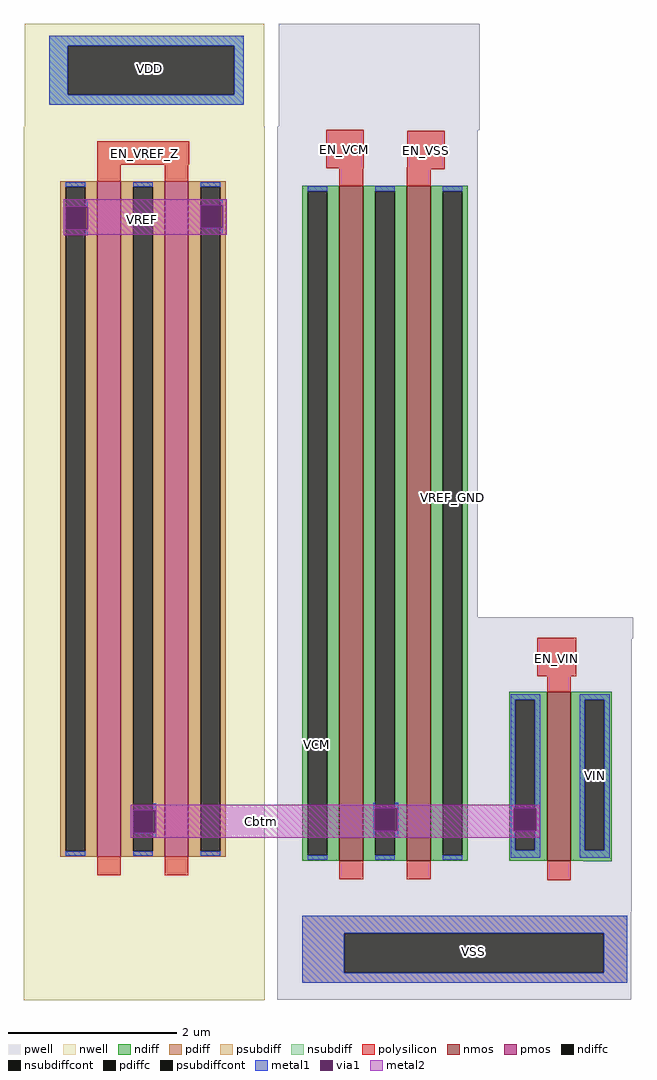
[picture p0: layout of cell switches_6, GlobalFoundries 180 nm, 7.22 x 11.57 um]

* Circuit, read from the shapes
.subckt switches_6 VCM VREF_GND VIN VREF EN_VCM EN_VREF_Z Cbtm VDD EN_VSS EN_VIN VSS
XM1 Cbtm EN_VCM VCM VSS nfet_03v3 w=8u l=0.28u
XM2 VREF_GND EN_VSS Cbtm VSS nfet_03v3 w=8u l=0.28u
XM3 VIN EN_VIN Cbtm VSS nfet_03v3 w=2u l=0.28u
XM4 Cbtm EN_VREF_Z VREF VDD pfet_03v3 w=8u l=0.28u m=2
.ends

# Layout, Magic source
magic
tech gf180mcuD
magscale 1 10
<< nwell >>
rect 2686 1955 3254 2198
rect 2684 -115 3255 1955
<< pwell >>
rect 3288 1954 3765 2198
rect 3284 1946 3765 1954
rect 3284 792 3760 1946
rect 3284 741 4128 792
rect 3284 95 4125 741
rect 3285 -114 4124 95
<< nmos >>
rect 3432 215 3488 1815
rect 3592 215 3648 1815
rect 3924 215 3980 615
<< pmos >>
rect 2858 225 2914 1825
rect 3018 225 3074 1825
<< ndiff >>
rect 3344 1802 3432 1815
rect 3344 228 3357 1802
rect 3403 228 3432 1802
rect 3344 215 3432 228
rect 3488 1802 3592 1815
rect 3488 228 3517 1802
rect 3563 228 3592 1802
rect 3488 215 3592 228
rect 3648 1802 3736 1815
rect 3648 228 3677 1802
rect 3723 228 3736 1802
rect 3648 215 3736 228
rect 3834 596 3924 615
rect 3834 240 3849 596
rect 3895 240 3924 596
rect 3834 215 3924 240
rect 3980 596 4077 615
rect 3980 240 4013 596
rect 4059 240 4077 596
rect 3980 215 4077 240
rect 4010 214 4077 215
<< pdiff >>
rect 2770 1812 2858 1825
rect 2770 238 2783 1812
rect 2829 238 2858 1812
rect 2770 225 2858 238
rect 2914 1812 3018 1825
rect 2914 238 2943 1812
rect 2989 238 3018 1812
rect 2914 225 3018 238
rect 3074 1812 3162 1825
rect 3074 238 3103 1812
rect 3149 238 3162 1812
rect 3074 225 3162 238
<< ndiffc >>
rect 3357 228 3403 1802
rect 3517 228 3563 1802
rect 3677 228 3723 1802
rect 3849 240 3895 596
rect 4013 240 4059 596
<< pdiffc >>
rect 2783 238 2829 1812
rect 2943 238 2989 1812
rect 3103 238 3149 1812
<< psubdiff >>
rect 3344 43 4114 85
rect 3344 -51 3443 43
rect 4058 -51 4114 43
rect 3344 -74 4114 -51
<< nsubdiff >>
rect 2744 2147 3205 2170
rect 2744 2030 2788 2147
rect 3183 2030 3205 2147
rect 2744 2007 3205 2030
<< psubdiffcont >>
rect 3443 -51 4058 43
<< nsubdiffcont >>
rect 2788 2030 3183 2147
<< polysilicon >>
rect 2858 1864 3076 1920
rect 2858 1825 2914 1864
rect 3018 1825 3074 1864
rect 3401 1856 3490 1947
rect 3593 1859 3682 1945
rect 3432 1815 3488 1856
rect 3592 1854 3682 1859
rect 3592 1815 3648 1854
rect 2858 181 2914 225
rect 3018 181 3074 225
rect 3901 652 3993 743
rect 3924 615 3980 652
rect 3432 171 3488 215
rect 3592 171 3648 215
rect 3924 169 3980 215
<< metal1 >>
rect 2744 2147 3205 2170
rect 2744 2030 2788 2147
rect 3183 2030 3205 2147
rect 2744 2007 3205 2030
rect 2783 1812 2829 1823
rect 2943 1812 2989 1823
rect 2829 1765 2835 1780
rect 2829 1697 2835 1711
rect 2783 227 2829 238
rect 3103 1812 3149 1823
rect 3357 1802 3403 1813
rect 3149 1769 3155 1782
rect 2989 335 2998 350
rect 2996 281 2998 335
rect 2989 269 2998 281
rect 2943 227 2989 238
rect 3149 1699 3155 1715
rect 3103 227 3149 238
rect 3517 1802 3563 1813
rect 3512 340 3517 352
rect 3677 1802 3723 1813
rect 3563 340 3571 352
rect 3512 286 3516 340
rect 3569 286 3571 340
rect 3512 271 3517 286
rect 3357 217 3403 228
rect 3563 271 3571 286
rect 3517 217 3563 228
rect 3677 217 3723 228
rect 3838 596 3908 609
rect 3838 340 3849 596
rect 3895 340 3908 596
rect 3838 286 3845 340
rect 3898 286 3908 340
rect 3838 240 3849 286
rect 3895 240 3908 286
rect 3838 222 3908 240
rect 4002 596 4072 609
rect 4002 240 4013 596
rect 4059 240 4072 596
rect 4002 222 4072 240
rect 3344 43 4114 85
rect 3344 -51 3443 43
rect 4058 -51 4114 43
rect 3344 -74 4114 -51
<< via1 >>
rect 2783 1711 2829 1765
rect 2829 1711 2835 1765
rect 3103 1715 3149 1769
rect 3149 1715 3155 1769
rect 2943 281 2989 335
rect 2989 281 2996 335
rect 3516 286 3517 340
rect 3517 286 3563 340
rect 3563 286 3569 340
rect 3845 286 3849 340
rect 3849 286 3895 340
rect 3895 286 3898 340
<< metal2 >>
rect 2779 1769 3165 1783
rect 2779 1765 3103 1769
rect 2779 1711 2783 1765
rect 2835 1715 3103 1765
rect 3155 1715 3165 1769
rect 2835 1711 3165 1715
rect 2779 1698 3165 1711
rect 2779 1697 2835 1698
rect 2937 340 3907 348
rect 2937 335 3516 340
rect 2937 281 2943 335
rect 2996 286 3516 335
rect 3569 286 3845 340
rect 3898 286 3907 340
rect 2996 281 3907 286
rect 2937 269 3907 281
<< labels >>
flabel metal1 3358 372 3397 609 0 FreeSans 160 0 0 0 VCM
port 1 nsew
flabel metal1 4008 275 4069 558 0 FreeSans 160 0 0 0 VIN
port 3 nsew
flabel metal2 2851 1702 3079 1766 0 FreeSans 160 0 0 0 VREF
port 4 nsew
flabel polysilicon 3402 1860 3488 1940 0 FreeSans 160 0 0 0 EN_VCM
port 5 nsew
flabel polysilicon 2870 1868 3072 1915 0 FreeSans 160 0 0 0 EN_VREF_Z
port 6 nsew
flabel metal2 3055 276 3438 339 0 FreeSans 160 0 0 0 Cbtm
port 7 nsew
flabel metal1 2770 2031 3194 2152 0 FreeSans 320 0 0 0 VDD
port 8 nsew
flabel polysilicon 3597 1860 3680 1938 0 FreeSans 160 0 0 0 EN_VSS
port 9 nsew
flabel polysilicon 3906 656 3989 734 0 FreeSans 160 0 0 0 EN_VIN
port 10 nsew
flabel metal1 3409 -57 4088 56 0 FreeSans 320 0 0 0 VSS
port 11 nsew
flabel metal1 3679 381 3719 1770 0 FreeSans 160 0 0 0 VREF_GND
port 2 nsew
<< end >>
